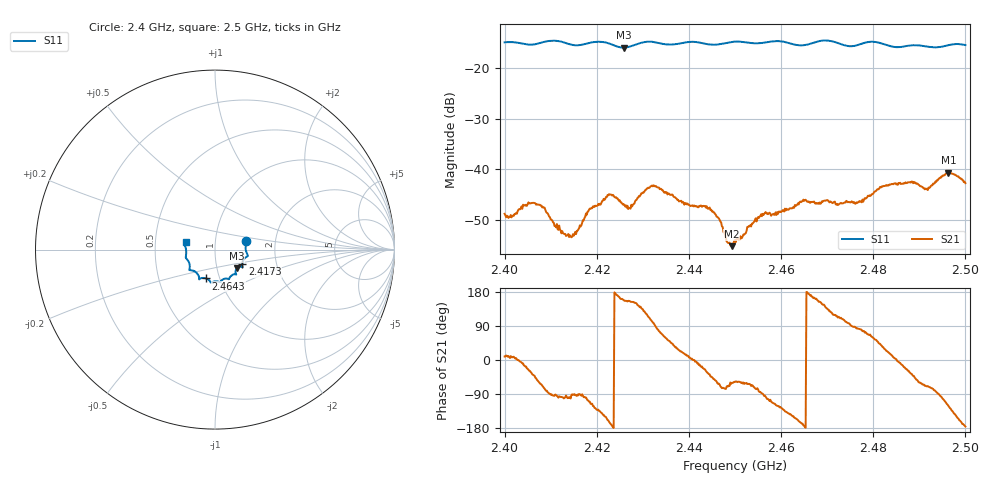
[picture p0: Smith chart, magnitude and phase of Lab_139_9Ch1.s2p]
# Hz S RI R 50
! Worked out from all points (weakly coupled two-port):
!   601 points, 2.4 GHz to 2.5 GHz, reference 50 ohm
!   highest |S21| = -40.65 dB at 2.4963 GHz (marker M1); lowest = -55.2 dB at 2.4493 GHz (marker M2)
!   lowest |S11| = -15.9 dB at 2.4258 GHz (marker M3), VSWR 1.38, Z = 62.3 - j13.3 ohm
!   |S11| at or under -10 dB: start of sweep to end of sweep
!   S12 and S22 are empty: the file has one direction only
!   S11 on the Smith chart (normalised r, x): 2.4 GHz: 1.41, +0.14; 2.4173 GHz: 1.34, -0.23; 2.4643 GHz: 0.86, -0.28; 2.5 GHz: 0.72, +0.06
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2.4e9  0.1734 0.0486  0.00359 0.000583  0 0  0 0
2.406167e9  0.171 -0.000323  0.00361 -0.00293  0 0  0 0
2.413167e9  0.1728 -0.0421  -0.000312 -0.00228  0 0  0 0
2.415e9  0.1595 -0.0558  -5.39e-05 -0.00221  0 0  0 0
2.416667e9  0.1529 -0.0747  -0.000206 -0.0028  0 0  0 0
2.417333e9  0.152 -0.0823  -0.00044 -0.00329  0 0  0 0
2.422667e9  0.1476 -0.0946  -0.00544 -0.00165  0 0  0 0
2.425833e9  0.1215 -0.1037  -0.00421 0.00165  0 0  0 0
2.427333e9  0.115 -0.1173  -0.00366 0.00183  0 0  0 0
2.431333e9  0.1188 -0.1389  -0.0025 0.00606  0 0  0 0
2.433333e9  0.113 -0.1373  0.00121 0.0065  0 0  0 0
2.444833e9  0.0566 -0.1614  0.00288 -0.00278  0 0  0 0
2.449333e9  0.0307 -0.179  0.000861 -0.00151  0 0  0 0
2.45e9  0.0288 -0.1807  0.00107 -0.00169  0 0  0 0
2.456167e9  -0.0078 -0.1781  -8.05e-05 -0.00354  0 0  0 0
2.464333e9  -0.0501 -0.1604  -0.00461 -0.00115  0 0  0 0
2.466667e9  -0.0761 -0.1589  -0.00463 0.00105  0 0  0 0
2.4765e9  -0.1214 -0.1173  0.000484 0.00463  0 0  0 0
2.483333e9  -0.1406 -0.09  0.00653 0.00232  0 0  0 0
2.491667e9  -0.1612 -0.0287  0.00225 -0.00604  0 0  0 0
2.496333e9  -0.1675 0.0219  -0.00486 -0.0079  0 0  0 0
2.5e9  -0.164 0.0418  -0.00729 -0.00057  0 0  0 0
